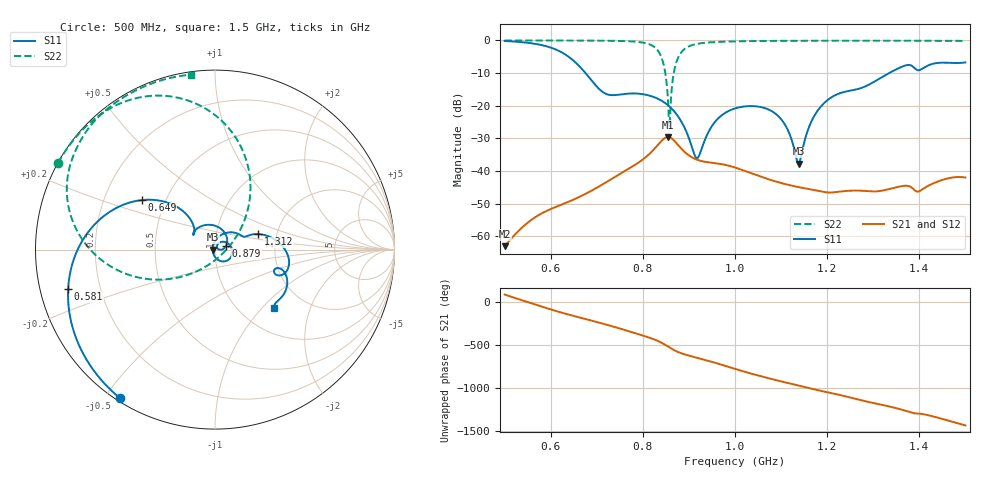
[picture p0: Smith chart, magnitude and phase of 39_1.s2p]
! TOUCHSTONE file generated by CST MICROWAVE STUDIO
! Date and time: Mon Oct 26 12:10:18 2020
! Project name: Scenario_1_Circular_Tissue_out_of_Line_v2.cst
! Parameters = {dy1=311.4; L_HA=400; MT=2.54; Rad_Dielectric=30; Rad_Lower=7.3; Rad_Upper=30; a_HA=580; a_WG=246; b_HA=500; b_WG=121; c_HA=0; c_WG=187; d_feed=85; dx1=173; h_feed=15; h_lower=18; h_upper=40}
! Header version: 2018
! Port assignment regex: !\s*Touchstone port\s*([0-9]+)\s*=\s*(CST MWS port|CST DS port)\s*([0-9]+|Zmin|Zmax)\s*\(\"(.*)\"\)(\s*mode\s*([0-9]+))?.*
! Touchstone port assignment:
! Touchstone port 1 = CST MWS port 1 ("")
! Touchstone port 2 = CST MWS port 2 ("")
# GHz S DB R 50
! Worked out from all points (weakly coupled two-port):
!   1003 points, 500 MHz to 1.5 GHz, reference 50 ohm
!   highest |S21| = -29.59 dB at 855 MHz (marker M1); lowest = -63.0 dB at 500 MHz (marker M2)
!   lowest |S11| = -37.7 dB at 1.138 GHz (marker M3), VSWR 1.03, Z = 48.7 + j0.000882 ohm
!   |S11| at or under -10 dB: 675.5 MHz to 1.334 GHz (658.9 MHz wide, 65.6 % of centre)
!   |S22| runs from -26.6 to 0.0 dB; largest |S21 - S12| = 7.7e-05
!   S11 on the Smith chart (normalised r, x): 500 MHz: 0.01, -0.55; 581 MHz: 0.08, -0.13; 649 MHz: 0.37, +0.27; 879 MHz: 1.13, +0.05; 1.312 GHz: 1.60, +0.30; 1.5 GHz: 1.42, -1.16
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0.5  -0.15 -122.5  -63.05 83.3  -63.05 83.3  -0.01 151.1
0.581  -1.44 -165.1  -52.95 -57.5  -52.96 -57.5  -0.02 145.5
0.649  -6.14 146.0  -48.81 -164.4  -48.80 -164.4  -0.03 140.1
0.667  -8.63 135.2  -47.63 170.2  -47.62 170.2  -0.04 138.4
0.719  -16.31 138.5  -43.57 96.0  -43.59 96.1  -0.09 132.4
0.779  -16.24 134.1  -38.49 1.2  -38.49 1.2  -0.33 120.5
0.834  -17.97 81.3  -31.80 -100.0  -31.82 -100.1  -3.40 83.1
0.846  -18.94 65.4  -30.08 -133.5  -30.10 -133.5  -7.95 60.4
0.855  -19.90 52.6  -29.59 -163.2  -29.60 -163.2  -19.47 22.9
0.86  -20.53 45.3  -29.79 -180.0  -29.80 -179.9  -20.50 -113.9
0.867  -21.56 35.1  -30.57 158.5  -30.57 158.5  -10.07 -148.2
0.879  -23.81 18.1  -32.46 129.1  -32.46 129.1  -4.59 -170.9
0.918  -36.09 33.4  -36.57 67.3  -36.57 67.3  -1.04 158.6
0.955  -25.24 51.5  -37.58 12.7  -37.57 12.7  -0.51 147.6
1  -20.83 9.4  -38.94 -61.4  -38.95 -61.4  -0.30 140.2
1.089  -22.58 -61.1  -43.25 168.0  -43.25 168.0  -0.14 130.7
1.138  -37.75 180.0  -44.95 104.1  -44.95 104.1  -0.11 126.5
1.167  -24.47 81.8  -45.71 66.9  -45.71 66.9  -0.10 124.2
1.21  -17.37 45.3  -46.59 16.2  -46.59 16.2  -0.09 120.9
1.312  -11.83 19.7  -46.19 -111.8  -46.19 -111.8  -0.08 113.2
1.334  -10.03 12.8  -45.55 -137.5  -45.55 -137.5  -0.08 111.5
1.5  -6.75 -44.6  -42.01 0.4  -42.00 0.3  -0.14 97.9
